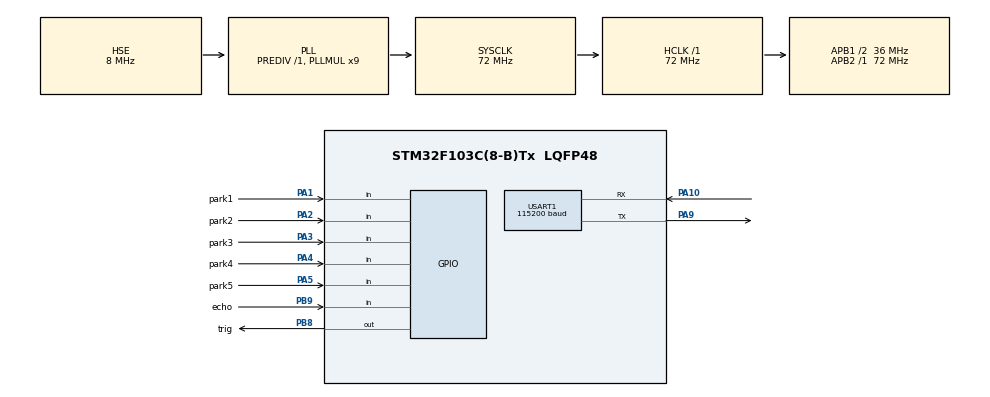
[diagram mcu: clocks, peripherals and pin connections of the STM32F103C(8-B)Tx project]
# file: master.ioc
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Mcu.Family=STM32F1
Mcu.Name=STM32F103C(8-B)Tx
Mcu.Package=LQFP48
NVIC.PriorityGroup=NVIC_PRIORITYGROUP_4
NVIC.TIM3_IRQn=true\:0\:0\:false\:false\:true\:true
PA1.GPIO_Label=park1
PA1.GPIO_PuPd=GPIO_PULLDOWN
PA1.Signal=GPIO_Input
PA10.Mode=Asynchronous
PA10.Signal=USART1_RX
PA13.Mode=Serial_Wire
PA13.Signal=SYS_JTMS-SWDIO
PA14.Mode=Serial_Wire
PA14.Signal=SYS_JTCK-SWCLK
PA2.GPIO_Label=park2
PA2.GPIO_PuPd=GPIO_PULLDOWN
PA2.Signal=GPIO_Input
PA3.GPIO_Label=park3
PA3.GPIO_PuPd=GPIO_PULLDOWN
PA3.Signal=GPIO_Input
PA4.GPIO_Label=park4
PA4.GPIO_PuPd=GPIO_PULLDOWN
PA4.Signal=GPIO_Input
PA5.GPIO_Label=park5
PA5.GPIO_PuPd=GPIO_PULLDOWN
PA5.Signal=GPIO_Input
PA9.Mode=Asynchronous
PA9.Signal=USART1_TX
PB8.GPIO_Label=trig
PB8.Signal=GPIO_Output
PB9.GPIO_Label=echo
PB9.Signal=GPIO_Input
PD0-OSC_IN.Mode=HSE-External-Oscillator
PD0-OSC_IN.Signal=RCC_OSC_IN
PD1-OSC_OUT.Mode=HSE-External-Oscillator
PD1-OSC_OUT.Signal=RCC_OSC_OUT
ProjectManager.HeapSize=0x200
ProjectManager.StackSize=0x400
ProjectManager.TargetToolchain=MDK-ARM V5
RCC.AHBFreq_Value=72000000
RCC.APB1CLKDivider=RCC_HCLK_DIV2
RCC.APB1Freq_Value=36000000
RCC.APB1TimFreq_Value=72000000
RCC.APB2Freq_Value=72000000
RCC.APB2TimFreq_Value=72000000
RCC.HCLKFreq_Value=72000000
RCC.PLLMUL=RCC_PLL_MUL9
RCC.PLLSourceVirtual=RCC_PLLSOURCE_HSE
RCC.SYSCLKFreq_VALUE=72000000
RCC.SYSCLKSource=RCC_SYSCLKSOURCE_PLLCLK
RCC.USBFreq_Value=72000000
TIM3.Period=999
TIM3.Prescaler=719
USART1.BaudRate=115200
USART1.VirtualMode=VM_ASYNC
VP_TIM3_VS_ClockSourceINT.Mode=Internal
board=master

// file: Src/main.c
/**
  ******************************************************************************
  * @file           : main.c
  * @brief          : Main program body
  ******************************************************************************
  ** This notice applies to any and all portions of this file
  * that are not between comment pairs USER CODE BEGIN and
  * USER CODE END. Other portions of this file, whether
  * inserted by the user or by software development tools
  * are owned by their respective copyright owners.
  *
  * COPYRIGHT(c) 2018 STMicroelectronics
  *
  * Redistribution and use in source and binary forms, with or without modification,
  * are permitted provided that the following conditions are met:
  *   1. Redistributions of source code must retain the above copyright notice,
  *      this list of conditions and the following disclaimer.
  *   2. Redistributions in binary form must reproduce the above copyright notice,
  *      this list of conditions and the following disclaimer in the documentation
  *      and/or other materials provided with the distribution.
  *   3. Neither the name of STMicroelectronics nor the names of its contributors
  *      may be used to endorse or promote products derived from this software
  *      without specific prior written permission.
  *
  * THIS SOFTWARE IS PROVIDED BY THE COPYRIGHT HOLDERS AND CONTRIBUTORS "AS IS"
  * AND ANY EXPRESS OR IMPLIED WARRANTIES, INCLUDING, BUT NOT LIMITED TO, THE
  * IMPLIED WARRANTIES OF MERCHANTABILITY AND FITNESS FOR A PARTICULAR PURPOSE ARE
  * DISCLAIMED. IN NO EVENT SHALL THE COPYRIGHT HOLDER OR CONTRIBUTORS BE LIABLE
  * FOR ANY DIRECT, INDIRECT, INCIDENTAL, SPECIAL, EXEMPLARY, OR CONSEQUENTIAL
  * DAMAGES (INCLUDING, BUT NOT LIMITED TO, PROCUREMENT OF SUBSTITUTE GOODS OR
  * SERVICES; LOSS OF USE, DATA, OR PROFITS; OR BUSINESS INTERRUPTION) HOWEVER
  * CAUSED AND ON ANY THEORY OF LIABILITY, WHETHER IN CONTRACT, STRICT LIABILITY,
  * OR TORT (INCLUDING NEGLIGENCE OR OTHERWISE) ARISING IN ANY WAY OUT OF THE USE
  * OF THIS SOFTWARE, EVEN IF ADVISED OF THE POSSIBILITY OF SUCH DAMAGE.
  *
  ******************************************************************************
  */
#include "main.h"
#include "stm32f1xx_hal.h"
#include "tim.h"
#include "usart.h"
#include "gpio.h"

/* USER CODE BEGIN Includes */
#include "hc_sr04.h"
/* USER CODE END Includes */

/* USER CODE BEGIN PV */
/* Private variables ---------------------------------------------------------*/
uint8_t aRxBuffer[6];
uint8_t bRxBuffer[6]={0,1,0,1,0,1};
float cnt;
float time=0;
float distance;
/* USER CODE END PV */

void SystemClock_Config(void);

/* USER CODE BEGIN PFP */
/* Private function prototypes -----------------------------------------------*/

/* USER CODE END PFP */

int main(void)
{

  /* MCU Configuration----------------------------------------------------------*/

  /* Reset of all peripherals, Initializes the Flash interface and the Systick. */
  HAL_Init();

  /* Configure the system clock */
  SystemClock_Config();

  /* Initialize all configured peripherals */
  MX_GPIO_Init();
  MX_USART1_UART_Init();
  MX_TIM3_Init();
  /* USER CODE BEGIN 2 */
	HAL_TIM_Base_Start_IT(&htim3);
  /* USER CODE END 2 */

  /* Infinite loop */
  /* USER CODE BEGIN WHILE */
  while (1)
  {
		start_hc_sr04();
		while(GPIO_PIN_RESET==HAL_GPIO_ReadPin(echo_GPIO_Port,echo_Pin));
		HAL_TIM_Base_Start(&htim3);
		while(GPIO_PIN_SET==HAL_GPIO_ReadPin(echo_GPIO_Port,echo_Pin));
		HAL_TIM_Base_Stop(&htim3);
		cnt=__HAL_TIM_GET_COUNTER (&htim3) ;
		distance=(time*1000+cnt)/100*17;

		__HAL_TIM_SET_COUNTER(&htim3, 0);
		time=0;

		//��λ0
		if(distance<10)
		{
			aRxBuffer[0]=0;
		}else{ aRxBuffer[0]=1; }
		//��λ1
		if(GPIO_PIN_SET==HAL_GPIO_ReadPin(park1_GPIO_Port,park1_Pin))
		{
			aRxBuffer[1]=0;
		}else{aRxBuffer[1]=1;}
		//��λ2
		if(GPIO_PIN_SET==HAL_GPIO_ReadPin(park2_GPIO_Port,park2_Pin))
		{
			aRxBuffer[2]=0;
		}else{aRxBuffer[2]=1;}
	 //��λ3
		if(HAL_GPIO_ReadPin(park3_GPIO_Port,park3_Pin) == GPIO_PIN_SET)
		{
			aRxBuffer[3]=0;
		}else{aRxBuffer[3]=1;}
		//��λ4
		if(GPIO_PIN_SET==HAL_GPIO_ReadPin(park4_GPIO_Port,park4_Pin))
		{
			aRxBuffer[4]=0;
		}else{aRxBuffer[4]=1;}
		//��λ5
		if(GPIO_PIN_SET==HAL_GPIO_ReadPin(park5_GPIO_Port,park5_Pin))
		{
			aRxBuffer[5]=0;
		}else{aRxBuffer[5]=1;}

  /* USER CODE END WHILE */

  /* USER CODE BEGIN 3 */
		HAL_UART_Transmit(&huart1, (uint8_t *)aRxBuffer, 6,0xFFFF);

		HAL_Delay(1000);
//		HAL_UART_Transmit(&huart1, (uint8_t *)bRxBuffer, 6,0xFFFF);
//		HAL_Delay(1000);
  }
  /* USER CODE END 3 */

}

void SystemClock_Config(void)
{

  RCC_OscInitTypeDef RCC_OscInitStruct;
  RCC_ClkInitTypeDef RCC_ClkInitStruct;

    /**Initializes the CPU, AHB and APB busses clocks
    */
  RCC_OscInitStruct.OscillatorType = RCC_OSCILLATORTYPE_HSE;
  RCC_OscInitStruct.HSEState = RCC_HSE_ON;
  RCC_OscInitStruct.HSEPredivValue = RCC_HSE_PREDIV_DIV1;
  RCC_OscInitStruct.HSIState = RCC_HSI_ON;
  RCC_OscInitStruct.PLL.PLLState = RCC_PLL_ON;
  RCC_OscInitStruct.PLL.PLLSource = RCC_PLLSOURCE_HSE;
  RCC_OscInitStruct.PLL.PLLMUL = RCC_PLL_MUL9;
  if (HAL_RCC_OscConfig(&RCC_OscInitStruct) != HAL_OK)
  {
    _Error_Handler(__FILE__, __LINE__);
  }

    /**Initializes the CPU, AHB and APB busses clocks
    */
  RCC_ClkInitStruct.ClockType = RCC_CLOCKTYPE_HCLK|RCC_CLOCKTYPE_SYSCLK
                              |RCC_CLOCKTYPE_PCLK1|RCC_CLOCKTYPE_PCLK2;
  RCC_ClkInitStruct.SYSCLKSource = RCC_SYSCLKSOURCE_PLLCLK;
  RCC_ClkInitStruct.AHBCLKDivider = RCC_SYSCLK_DIV1;
  RCC_ClkInitStruct.APB1CLKDivider = RCC_HCLK_DIV2;
  RCC_ClkInitStruct.APB2CLKDivider = RCC_HCLK_DIV1;

  if (HAL_RCC_ClockConfig(&RCC_ClkInitStruct, FLASH_LATENCY_2) != HAL_OK)
  {
    _Error_Handler(__FILE__, __LINE__);
  }

    /**Configure the Systick interrupt time
    */
  HAL_SYSTICK_Config(HAL_RCC_GetHCLKFreq()/1000);

    /**Configure the Systick
    */
  HAL_SYSTICK_CLKSourceConfig(SYSTICK_CLKSOURCE_HCLK);

  /* SysTick_IRQn interrupt configuration */
  HAL_NVIC_SetPriority(SysTick_IRQn, 0, 0);
}

/* USER CODE BEGIN 4 */
void HAL_TIM_PeriodElapsedCallback(TIM_HandleTypeDef *htim)

{
			//printf("hello\r\n");
    if (htim->Instance == htim3.Instance)

    {
			time++;
    }

}
/* USER CODE END 4 */

void _Error_Handler(char *file, int line)
{
  while(1)
  {
  }
}

/************************ (C) COPYRIGHT STMicroelectronics *****END OF FILE****/
